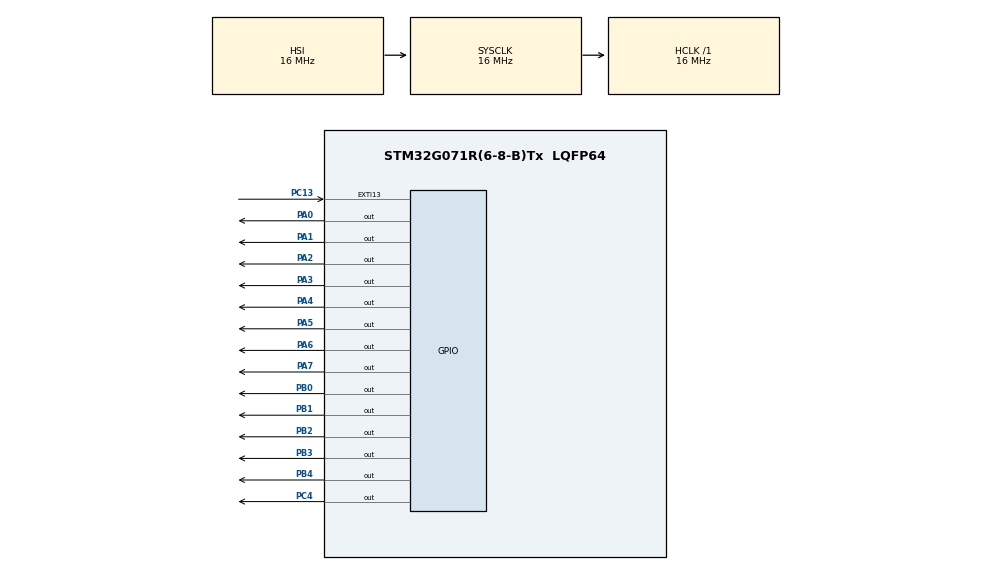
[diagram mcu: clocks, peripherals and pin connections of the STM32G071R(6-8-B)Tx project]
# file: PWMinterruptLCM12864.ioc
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Mcu.Family=STM32G0
Mcu.Name=STM32G071R(6-8-B)Tx
Mcu.Package=LQFP64
NVIC.EXTI4_15_IRQn=true\:0\:0\:false\:false\:true\:true\:true
PA0.Signal=GPIO_Output
PA1.Signal=GPIO_Output
PA2.Signal=GPIO_Output
PA3.Signal=GPIO_Output
PA4.Signal=GPIO_Output
PA5.Signal=GPIO_Output
PA6.Signal=GPIO_Output
PA7.Signal=GPIO_Output
PB0.Signal=GPIO_Output
PB1.Signal=GPIO_Output
PB2.Signal=GPIO_Output
PB3.Signal=GPIO_Output
PB4.Signal=GPIO_Output
PC13.GPIO_ModeDefaultEXTI=GPIO_MODE_IT_FALLING
PC13.Signal=GPXTI13
PC4.Signal=GPIO_Output
ProjectManager.HeapSize=0x200
ProjectManager.StackSize=0x400
ProjectManager.TargetToolchain=MDK-ARM V5.27
RCC.AHBFreq_Value=16000000
RCC.CortexFreq_Value=16000000
RCC.EXTERNAL_CLOCK_VALUE=48000
RCC.HCLKFreq_Value=16000000
RCC.HSE_VALUE=8000000
RCC.HSI_VALUE=16000000
RCC.LSE_VALUE=32768
RCC.SYSCLKFreq_VALUE=16000000
RCC.VCOOutputFreq_Value=128000000
VP_SYS_VS_DBSignals.Mode=DisableDeadBatterySignals
board=custom

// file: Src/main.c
/* USER CODE BEGIN Header */
/**
  ******************************************************************************
  * @file           : main.c
  * @brief          : Main program body
  ******************************************************************************
  * @attention
  *
  * <h2><center>&copy; Copyright (c) 2021 STMicroelectronics.
  * All rights reserved.</center></h2>
  *
  * This software component is licensed by ST under BSD 3-Clause license,
  * the "License"; You may not use this file except in compliance with the
  * License. You may obtain a copy of the License at:
  *                        opensource.org/licenses/BSD-3-Clause
  *
  ******************************************************************************
  */
/* USER CODE END Header */
#include "main.h"

#define u8  unsigned char
#define u16 unsigned int

void delay(void);
void lcdwritecmd(unsigned char cmd);
void lcdwritedata(unsigned char dat);
void lcdinit(void);
void lcdsetcursor(unsigned char x, unsigned char y);
void lcdshowstr(unsigned char x, unsigned char y, unsigned char *str);

int speed=0;
unsigned char tstri[2];
int location=4;
int counter=0;
unsigned char tstr[5];
/* USER CODE BEGIN Includes */

ITStatus EXTI_GetITStatus(uint32_t EXTI_Line)
{
    ITStatus bitstatus = RESET; //chushi wei zhuangtai 0
    uint32_t enablestatus = 0;  //chushi shineng zhuangtai 0
    /* Check the parameters */
    assert_param(IS_GET_EXTI_LINE(EXTI_Line));

    enablestatus =  EXTI->IMR1 & EXTI_Line;
    if (((EXTI->FPR1 & EXTI_Line) != (uint32_t)RESET) && (enablestatus != (uint32_t)RESET))
		      bitstatus = SET;
    else
        bitstatus = RESET;
    return bitstatus;
}

void EXTI_ClearITPendingBit(uint32_t EXTI_Line)
{
  /* Check the parameters */
  assert_param(IS_EXTI_LINE(EXTI_Line));

  EXTI->FPR1 = EXTI_Line;
}

/* USER CODE END Includes */

void SystemClock_Config(void);
static void MX_GPIO_Init(void);

int main(void)
{

  /* MCU Configuration--------------------------------------------------------*/

  /* Reset of all peripherals, Initializes the Flash interface and the Systick. */
  HAL_Init();

  /* Configure the system clock */
  SystemClock_Config();

  /* Initialize all configured peripherals */
  MX_GPIO_Init();
  /* USER CODE BEGIN 2 */
  lcdinit();
	delay();
	lcdshowstr(0,0,"Level");
	lcdshowstr(3,0,"0");
	lcdshowstr(5,1,"times");
	sprintf(tstr,"%d",counter);
  lcdshowstr(location,1,tstr);
  /* USER CODE END 2 */

  /* Infinite loop */
  while (1)
  {
		if(speed==0)
			HAL_GPIO_WritePin(GPIOC,GPIO_PIN_4,RESET);
		else if((speed>0)&&(speed<5))
		{
			HAL_GPIO_WritePin(GPIOC,GPIO_PIN_4,SET);
			HAL_Delay(speed);
			HAL_GPIO_WritePin(GPIOC,GPIO_PIN_4,RESET);
			HAL_Delay(5-speed);
		}
		else if(speed==5)
			HAL_GPIO_WritePin(GPIOC,GPIO_PIN_4,SET);
		else
			speed=0;
  }
}

void SystemClock_Config(void)
{
  RCC_OscInitTypeDef RCC_OscInitStruct = {0};
  RCC_ClkInitTypeDef RCC_ClkInitStruct = {0};

  /** Configure the main internal regulator output voltage
  */
  HAL_PWREx_ControlVoltageScaling(PWR_REGULATOR_VOLTAGE_SCALE1);
  /** Initializes the RCC Oscillators according to the specified parameters
  * in the RCC_OscInitTypeDef structure.
  */
  RCC_OscInitStruct.OscillatorType = RCC_OSCILLATORTYPE_HSI;
  RCC_OscInitStruct.HSIState = RCC_HSI_ON;
  RCC_OscInitStruct.HSIDiv = RCC_HSI_DIV1;
  RCC_OscInitStruct.HSICalibrationValue = RCC_HSICALIBRATION_DEFAULT;
  RCC_OscInitStruct.PLL.PLLState = RCC_PLL_NONE;
  if (HAL_RCC_OscConfig(&RCC_OscInitStruct) != HAL_OK)
  {
    Error_Handler();
  }
  /** Initializes the CPU, AHB and APB buses clocks
  */
  RCC_ClkInitStruct.ClockType = RCC_CLOCKTYPE_HCLK|RCC_CLOCKTYPE_SYSCLK
                              |RCC_CLOCKTYPE_PCLK1;
  RCC_ClkInitStruct.SYSCLKSource = RCC_SYSCLKSOURCE_HSI;
  RCC_ClkInitStruct.AHBCLKDivider = RCC_SYSCLK_DIV1;
  RCC_ClkInitStruct.APB1CLKDivider = RCC_HCLK_DIV1;

  if (HAL_RCC_ClockConfig(&RCC_ClkInitStruct, FLASH_LATENCY_0) != HAL_OK)
  {
    Error_Handler();
  }
}

static void MX_GPIO_Init(void)
{
  GPIO_InitTypeDef GPIO_InitStruct = {0};

  /* GPIO Ports Clock Enable */
  __HAL_RCC_GPIOC_CLK_ENABLE();
  __HAL_RCC_GPIOA_CLK_ENABLE();
  __HAL_RCC_GPIOB_CLK_ENABLE();

  /*Configure GPIO pin Output Level */
  HAL_GPIO_WritePin(GPIOA, GPIO_PIN_0|GPIO_PIN_1|GPIO_PIN_2|GPIO_PIN_3
                          |GPIO_PIN_4|GPIO_PIN_5|GPIO_PIN_6|GPIO_PIN_7, GPIO_PIN_RESET);

  /*Configure GPIO pin Output Level */
  HAL_GPIO_WritePin(GPIOC, GPIO_PIN_4, GPIO_PIN_RESET);

  /*Configure GPIO pin Output Level */
  HAL_GPIO_WritePin(GPIOB, GPIO_PIN_0|GPIO_PIN_1|GPIO_PIN_2|GPIO_PIN_3
                          |GPIO_PIN_4, GPIO_PIN_RESET);

  /*Configure GPIO pin : PC13 */
  GPIO_InitStruct.Pin = GPIO_PIN_13;
  GPIO_InitStruct.Mode = GPIO_MODE_IT_FALLING;
  GPIO_InitStruct.Pull = GPIO_NOPULL;
  HAL_GPIO_Init(GPIOC, &GPIO_InitStruct);

  /*Configure GPIO pins : PA0 PA1 PA2 PA3
                           PA4 PA5 PA6 PA7 */
  GPIO_InitStruct.Pin = GPIO_PIN_0|GPIO_PIN_1|GPIO_PIN_2|GPIO_PIN_3
                          |GPIO_PIN_4|GPIO_PIN_5|GPIO_PIN_6|GPIO_PIN_7;
  GPIO_InitStruct.Mode = GPIO_MODE_OUTPUT_PP;
  GPIO_InitStruct.Pull = GPIO_NOPULL;
  GPIO_InitStruct.Speed = GPIO_SPEED_FREQ_LOW;
  HAL_GPIO_Init(GPIOA, &GPIO_InitStruct);

  /*Configure GPIO pin : PC4 */
  GPIO_InitStruct.Pin = GPIO_PIN_4;
  GPIO_InitStruct.Mode = GPIO_MODE_OUTPUT_PP;
  GPIO_InitStruct.Pull = GPIO_NOPULL;
  GPIO_InitStruct.Speed = GPIO_SPEED_FREQ_LOW;
  HAL_GPIO_Init(GPIOC, &GPIO_InitStruct);

  /*Configure GPIO pins : PB0 PB1 PB2 PB3
                           PB4 */
  GPIO_InitStruct.Pin = GPIO_PIN_0|GPIO_PIN_1|GPIO_PIN_2|GPIO_PIN_3
                          |GPIO_PIN_4;
  GPIO_InitStruct.Mode = GPIO_MODE_OUTPUT_PP;
  GPIO_InitStruct.Pull = GPIO_NOPULL;
  GPIO_InitStruct.Speed = GPIO_SPEED_FREQ_LOW;
  HAL_GPIO_Init(GPIOB, &GPIO_InitStruct);

  /* EXTI interrupt init*/
  HAL_NVIC_SetPriority(EXTI4_15_IRQn, 0, 0);
  HAL_NVIC_EnableIRQ(EXTI4_15_IRQn);

}

/* USER CODE BEGIN 4 */
void delay ()
{
	for(int i=0;i<99;i++)
	  for(int j=0;j<99;j++)
	 {}
}

void lcdwritecmd(unsigned char cmd)
{
	delay();          //           使能 写  指令
	GPIOB->ODR=0x18;  //RST=1\PSB=1\E=0\RW=0\RS=0
	GPIOA->ODR=cmd;
	GPIOB->ODR=0x1C;	//RST=1\PSB=1\E=1\RW=0\RS=0
	delay();
	GPIOB->ODR=0x18;	//RST=1\PSB=1\E=0\RW=0\RS=0
}

void lcdwritedata(unsigned char dat)
{
  delay();          //           使能  写  数据
	GPIOB->ODR=0x19;	//RST=1\PSB=1\E=0\RW=0\RS=1
  GPIOA->ODR=dat;
	GPIOB->ODR=0x1D;	//RST=1\PSB=1\E=1\RW=0\RS=1
	delay();
	GPIOB->ODR=0x19;	//RST=1\PSB=1\E=0\RW=0\RS=1
}

void lcdinit()
{
	lcdwritecmd(0x38); //E 使能   RS1数据0指令  RW1读0写
	lcdwritecmd(0x06);
	lcdwritecmd(0x01);
	lcdwritecmd(0x0C);
}

void lcdsetcursor(unsigned char x, unsigned char y) //字符定位
{
	unsigned char address;
	if(y==0)
		address=0x80+x;
	else if(y==1)
		address=0x90+x;
	else if(y==2)
		address=0x88+x;
	else
		address=0x98+x;
	lcdwritecmd(address|0x80);
}

void lcdshowstr(unsigned char x, unsigned char y, unsigned char *str) //字符输出
{
	lcdsetcursor(x,y);
	while((*str)!='\0')
	{
		 lcdwritedata(*str);
  		str++;
	}
}

void EXTI4_15_IRQHandler(void)
{
	if (EXTI_GetITStatus(0x2000) != 0x00)  // 0x2000==EXTI_PIN_13
  {
		EXTI_ClearITPendingBit(0x2000);  //Clear interrupt flag bit
		if(speed==5)
		{
			speed=0;
			sprintf(tstri,"%d",speed);
			lcdshowstr(3,0,tstri);
			counter++;     //interrupt users code
			if(counter>99)  lcdshowstr(0,1,"  !!!ERROR!!!   ");
			else if(counter>9)  location=3;
			sprintf(tstr,"%d",counter);
			lcdshowstr(location,1,tstr);
		}
		else
		{
			speed++;
			sprintf(tstri,"%d",speed);
			lcdshowstr(3,0,tstri);
		}
  }
}
/* USER CODE END 4 */

void Error_Handler(void)
{
  __disable_irq();
  while (1)
  {
  }
}

/************************ (C) COPYRIGHT STMicroelectronics *****END OF FILE****/
